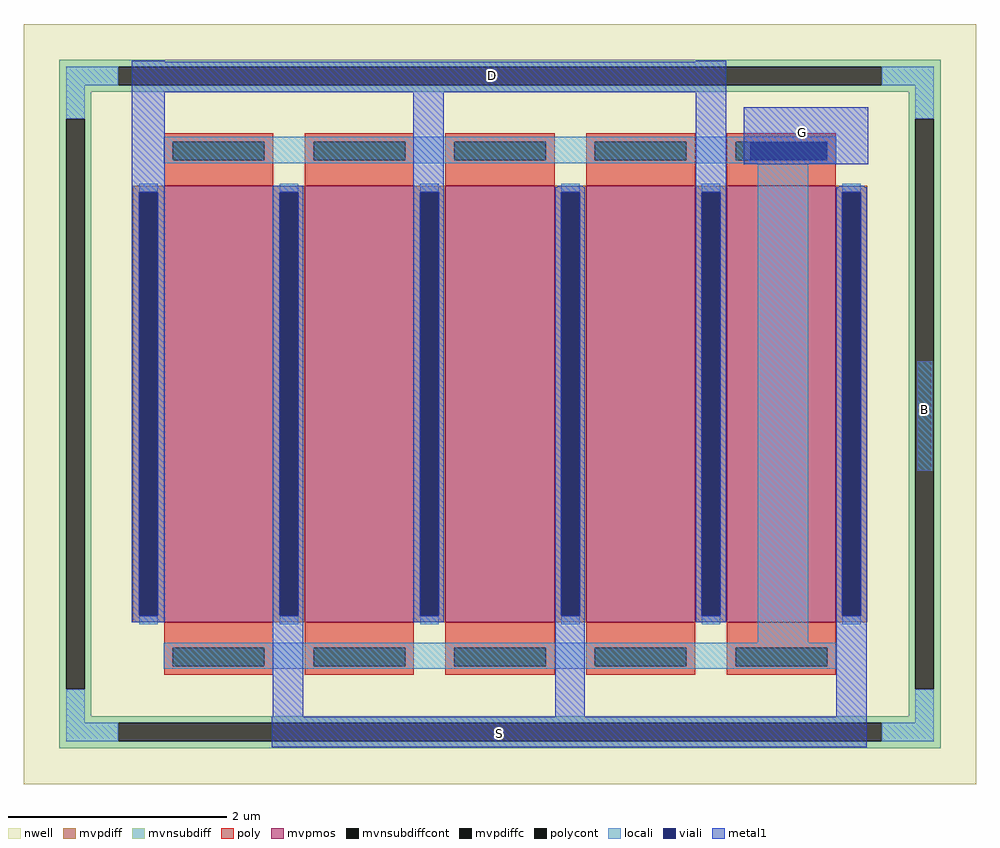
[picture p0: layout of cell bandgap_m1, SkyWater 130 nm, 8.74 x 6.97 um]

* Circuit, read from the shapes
.subckt bandgap_m1 D G S B
XM1 S G D B sky130_fd_pr__pfet_g5v0d10v5 w=4 l=1 m=5
.ends

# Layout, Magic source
magic
tech sky130A
magscale 1 2
<< locali >>
rect 162 1050 1396 1098
rect 1544 486 1572 686
rect 162 122 1396 170
<< metal1 >>
rect 668 1194 910 1224
rect 1238 1056 1442 1142
rect 666 -8 1026 20
use sky130_fd_pr__pfet_g5v0d10v5_P62BBU  sky130_fd_pr__pfet_g5v0d10v5_P62BBU_0
transform 1 0 779 0 1 608
box -874 -697 874 697
<< labels >>
flabel metal1 766 1210 766 1210 0 FreeSans 800 0 0 0 D
port 0 nsew
flabel metal1 1334 1106 1334 1106 0 FreeSans 800 0 0 0 G
port 1 nsew
flabel metal1 778 4 778 4 0 FreeSans 800 0 0 0 S
port 2 nsew
flabel locali 1558 598 1558 598 0 FreeSans 800 0 0 0 B
port 3 nsew
<< end >>

# cell sky130_fd_pr__pfet_g5v0d10v5_P62BBU: kit device sky130_fd_pr__pfet_g5v0d10v5, w 4 l 1 m 1 nf 5 diffcov 100 polycov 100 guard 1 glc 1 grc 1 gtc 1 gbc 1 tbcov 100 rlcov 100 topc 1 botc 1 poverlap 0 doverlap 1 lmin 0.50 wmin 0.42 class mosfet compatible {sky130_fd_pr__pfet_01v8 sky130_fd_pr__pfet_01v8_lvt sky130_fd_pr__pfet_01v8_hvt sky130_fd_pr__pfet_g5v0d10v5} full_metal 1 conn_gates 0 viasrc 100 viadrn 100 viagate 100 viagb 0 viagr 0 viagl 0 viagt 0 doports 1
